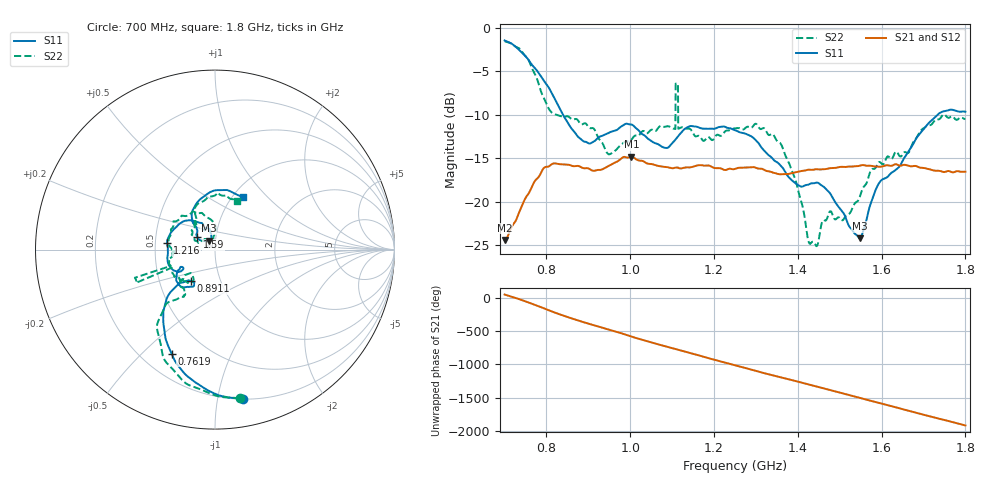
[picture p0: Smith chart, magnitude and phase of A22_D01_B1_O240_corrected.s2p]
! Created with skrf 1.9.0 (http://scikit-rf.org).
# Hz S RI R 50.0
!freq ReS11 ImS11 ReS21 ImS21 ReS12 ImS12 ReS22 ImS22
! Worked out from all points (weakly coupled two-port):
!   1601 points, 700 MHz to 1.8 GHz, reference 50 ohm
!   highest |S21| = -14.84 dB at 1.002 GHz (marker M1); lowest = -24.4 dB at 700 MHz (marker M2)
!   lowest |S11| = -24.2 dB at 1.548 GHz (marker M3), VSWR 1.13, Z = 46.4 + j4.68 ohm
!   |S11| at or under -10 dB: 839.5 MHz to 1.733 GHz (894 MHz wide, 69.5 % of centre)
!   |S22| runs from -25.1 to -1.5 dB; largest |S21 - S12| = 0.0036
!   S11 on the Smith chart (normalised r, x): 700 MHz: 0.20, -1.19; 761.9 MHz: 0.32, -0.62; 891.1 MHz: 0.72, -0.26; 1.216 GHz: 0.58, +0.05; 1.59 GHz: 0.81, +0.12; 1.8 GHz: 1.11, +0.73
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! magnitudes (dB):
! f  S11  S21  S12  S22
! 700 MHz  -1.4  -24.4  -24.2  -1.5
! 761.9 MHz  -4.0  -18.7  -18.6  -4.2
! 810 MHz  -7.3  -15.8  -15.7  -9.6
! 883.6 MHz  -12.9  -16.1  -16.0  -11.1
! 891.1 MHz  -13.1  -16.2  -16.2  -11.0
! 948.9 MHz  -12.1  -15.9  -15.9  -14.6
! 1.002 GHz  -11.1  -14.8  -15.0  -12.9
! 1.067 GHz  -13.4  -15.9  -15.8  -11.5
! 1.102 GHz  -13.2  -16.2  -16.1  -11.6
! 1.114 GHz  -12.5  -16.1  -16.1  -6.5
! 1.12 GHz  -12.1  -16.2  -16.1  -11.5
! 1.216 GHz  -11.4  -16.2  -16.2  -12.4
! 1.25 GHz  -11.8  -16.2  -16.2  -11.6
! 1.359 GHz  -15.9  -16.9  -16.9  -13.3
! 1.434 GHz  -17.9  -16.3  -16.3  -24.7
! 1.476 GHz  -19.0  -16.2  -16.2  -21.1
! 1.508 GHz  -21.2  -16.0  -16.0  -22.1
! 1.548 GHz  -24.2  -15.9  -15.9  -19.5
! 1.59 GHz  -18.2  -16.0  -16.0  -15.7
! 1.617 GHz  -17.0  -15.8  -15.8  -14.8
! 1.735 GHz  -9.9  -16.4  -16.5  -10.5
! 1.8 GHz  -9.7  -16.6  -16.6  -10.5
